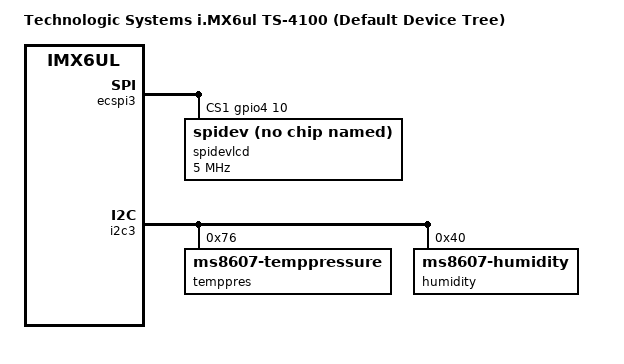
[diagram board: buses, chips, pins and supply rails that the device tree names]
/*
 * Copyright (C) 2016 Technologic Systems
 *
 * This program is free software; you can redistribute it and/or modify
 * it under the terms of the GNU General Public License version 2 as
 * published by the Free Software Foundation.
 */

/dts-v1/;

#include "imx6ul-ts4100.dtsi"

/ {
	model = "Technologic Systems i.MX6ul TS-4100 (Default Device Tree)";
	compatible = "fsl,imx6ul-ts4100", "fsl,imx6ul";
};

&ecspi3 {
	fsl,spi-num-chipselects = <2>;
	cs-gpios = <&gpio4 12 0>, <&gpio4 10 0>;

	spidevlcd: spi@1 {
		compatible = "spidev";
		reg = <1>;
		spi-max-frequency = <5000000>;
	};
};

&i2c3 {
	/* Temp, RH, Pressure sensors on TS-4100-ENVIRON-DC */
	temppres: ms8607@76 {
		compatible = "ms8607-temppressure";
		reg = <0x76>;
	};

	humidity: ms8607@40 {
		compatible = "ms8607-humidity";
		reg = <0x40>;
	};
};

&snvs_rtc {
	status = "disabled";
};

&iomuxc {
	pinctrl-names = "default";
	pinctrl-0 = <&pinctrl_cam_gpio &pinctrl_lcd_gpio &ts4100_pinctrl_hog>;
};
